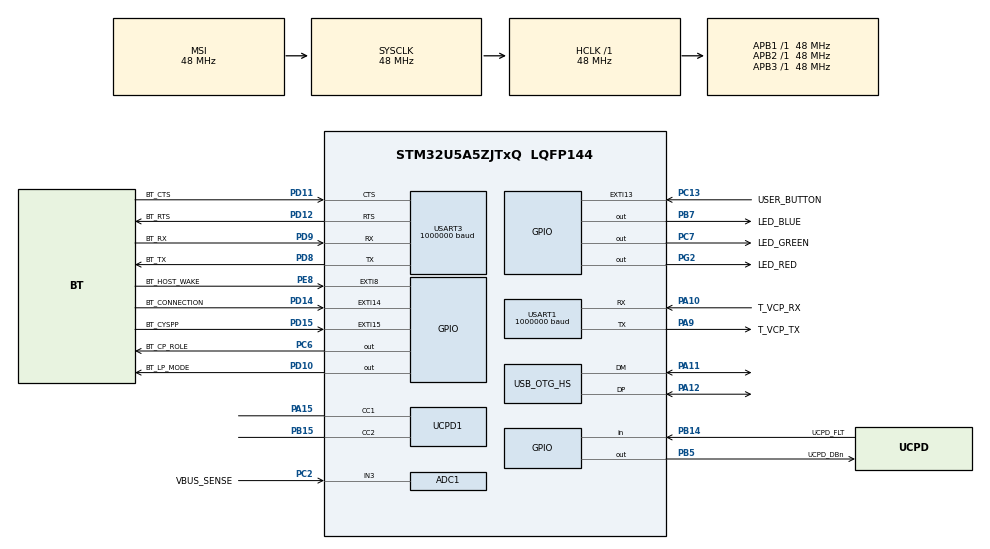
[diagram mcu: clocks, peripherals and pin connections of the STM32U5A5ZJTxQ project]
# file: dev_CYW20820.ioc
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ADC1.Channel-0\#ChannelRegularConversion=ADC_CHANNEL_3
ADC1.NbrOfConversionFlag=1
ADC1.OffsetNumber-0\#ChannelRegularConversion=ADC_OFFSET_NONE
ADC1.Rank-0\#ChannelRegularConversion=1
ADC1.SamplingTime-0\#ChannelRegularConversion=ADC_SAMPLETIME_5CYCLE
ADC1.master=1
CORTEX_M33_NS.userName=CORTEX_M33
CRC.CRCLength=CRC_POLYLENGTH_32B
CRC.DefaultInitValueUse=DEFAULT_INIT_VALUE_DISABLE
CRC.DefaultPolynomialUse=DEFAULT_POLYNOMIAL_DISABLE
CRC.GeneratingPolynomial=X16+X12+X5+X0
CRC.InitValue=0xB0CA
GPDMA1.DESTINC_GPDMACH0=DMA_DINC_INCREMENTED
GPDMA1.DIRECTION_GPDMACH1=DMA_MEMORY_TO_PERIPH
GPDMA1.IPHANDLE_GPDMACH0-SIMPLEREQUEST_GPDMACH0=__NULL
GPDMA1.IPHANDLE_GPDMACH1-SIMPLEREQUEST_GPDMACH1=__NULL
GPDMA1.PRIORITY_GPDMACH1=DMA_LOW_PRIORITY_LOW_WEIGHT
GPDMA1.REQUEST_GPDMACH0=GPDMA1_REQUEST_USART3_RX
GPDMA1.REQUEST_GPDMACH1=GPDMA1_REQUEST_USART3_TX
GPDMA1.SRCINC_GPDMACH1=DMA_SINC_INCREMENTED
Mcu.Family=STM32U5
Mcu.Name=STM32U5A5ZJTxQ
Mcu.Package=LQFP144
NVIC.EXTI13_IRQn=true\:0\:0\:false\:false\:true\:true\:true\:true
NVIC.EXTI14_IRQn=true\:0\:0\:false\:false\:true\:true\:true\:true
NVIC.GPDMA1_Channel0_IRQn=true\:0\:0\:false\:false\:true\:false\:true\:true
NVIC.GPDMA1_Channel1_IRQn=true\:0\:0\:false\:false\:true\:false\:true\:true
NVIC.PriorityGroup=NVIC_PRIORITYGROUP_4
NVIC.USART3_IRQn=true\:0\:0\:false\:false\:true\:true\:true\:true
PA10.GPIO_Label=T_VCP_RX
PA10.Mode=Asynchronous
PA10.Signal=USART1_RX
PA11.Mode=Internal_Phy_Host
PA11.Signal=USB_OTG_HS_DM
PA12.Mode=Internal_Phy_Host
PA12.Signal=USB_OTG_HS_DP
PA13\ (JTMS/SWDIO).Mode=Trace_Asynchronous_SW
PA13\ (JTMS/SWDIO).Signal=DEBUG_JTMS-SWDIO
PA14\ (JTCK/SWCLK).Mode=Trace_Asynchronous_SW
PA14\ (JTCK/SWCLK).Signal=DEBUG_JTCK-SWCLK
PA15\ (JTDI).Mode=Sink_AllSignals
PA15\ (JTDI).Signal=UCPD1_CC1
PA9.GPIO_Label=T_VCP_TX
PA9.Mode=Asynchronous
PA9.Signal=USART1_TX
PB14.GPIO_Label=UCPD_FLT
PB14.Signal=GPIO_Input
PB15.Mode=Sink_AllSignals
PB15.Signal=UCPD1_CC2
PB3\ (JTDO/TRACESWO).Mode=Trace_Asynchronous_SW
PB3\ (JTDO/TRACESWO).Signal=DEBUG_JTDO-SWO
PB5.GPIO_Label=UCPD_DBn
PB5.Signal=GPIO_Output
PB7.GPIO_Label=LED_BLUE
PB7.Signal=GPIO_Output
PC13.GPIO_Label=USER_BUTTON
PC13.Signal=GPXTI13
PC14-OSC32_IN\ (PC14).Mode=LSE-External-Oscillator
PC14-OSC32_IN\ (PC14).Signal=RCC_OSC32_IN
PC15-OSC32_OUT\ (PC15).Mode=LSE-External-Oscillator
PC15-OSC32_OUT\ (PC15).Signal=RCC_OSC32_OUT
PC2.GPIO_Label=VBUS_SENSE
PC2.Mode=IN3-Single-Ended
PC2.Signal=ADC1_IN3
PC6.GPIO_Label=BT_CP_ROLE
PC6.PinState=GPIO_PIN_SET
PC6.Signal=GPIO_Output
PC7.GPIO_Label=LED_GREEN
PC7.Signal=GPIO_Output
PD10.GPIO_Label=BT_LP_MODE
PD10.PinState=GPIO_PIN_SET
PD10.Signal=GPIO_Output
PD11.GPIO_Label=BT_CTS
PD11.Mode=CTS_RTS
PD11.Signal=USART3_CTS
PD12.GPIO_Label=BT_RTS
PD12.Mode=CTS_RTS
PD12.Signal=USART3_RTS
PD14.GPIO_Label=BT_CONNECTION
PD14.GPIO_ModeDefaultEXTI=GPIO_MODE_IT_RISING_FALLING
PD14.Signal=GPXTI14
PD15.GPIO_Label=BT_CYSPP
PD15.GPIO_ModeDefaultEXTI=GPIO_MODE_IT_RISING_FALLING
PD15.Signal=GPXTI15
PD8.GPIO_Label=BT_TX
PD8.Mode=Asynchronous
PD8.Signal=USART3_TX
PD9.GPIO_Label=BT_RX
PD9.Mode=Asynchronous
PD9.Signal=USART3_RX
PE8.GPIO_Label=BT_HOST_WAKE
PE8.Signal=GPXTI8
PG2.GPIO_Label=LED_RED
PG2.Signal=GPIO_Output
PH0-OSC_IN\ (PH0).Mode=HSE-External-Oscillator
PH0-OSC_IN\ (PH0).Signal=RCC_OSC_IN
PH1-OSC_OUT\ (PH1).Mode=HSE-External-Oscillator
PH1-OSC_OUT\ (PH1).Signal=RCC_OSC_OUT
PWR.PowerMode=PWR_SMPS_SUPPLY
ProjectManager.HeapSize=0x200
ProjectManager.StackSize=0x400
ProjectManager.TargetToolchain=STM32CubeIDE
RCC.ADCFreq_Value=16000000
RCC.AHBFreq_Value=48000000
RCC.APB1Freq_Value=48000000
RCC.APB1TimFreq_Value=48000000
RCC.APB2Freq_Value=48000000
RCC.APB2TimFreq_Value=48000000
RCC.APB3Freq_Value=48000000
RCC.CortexFreq_Value=48000000
RCC.DACCLockSelectionVirtual=RCC_DAC1CLKSOURCE_LSI
RCC.EPOD_VALUE=48000000
RCC.HCLKFreq_Value=48000000
RCC.HSE_VALUE=16000000
RCC.HSI48_VALUE=48000000
RCC.HSI_VALUE=16000000
RCC.LSIDIV_VALUE=32000
RCC.MSIClockRange=RCC_MSIRANGE_0
RCC.MSI_VALUE=48000000
RCC.PLL1P=8
RCC.PLLFRACN=0
RCC.PLLM=3
RCC.PLLN=8
RCC.SYSCLKFreq_VALUE=48000000
RCC.VCOOutputFreq_Value=128000000
USART1.BaudRate=1000000
USART1.VirtualMode-Asynchronous=VM_ASYNC
USART3.BaudRate=1000000
USART3.FIFOMode=FIFOMODE_ENABLE
USART3.VirtualMode-Asynchronous=VM_ASYNC
USB_OTG_HS.VirtualMode=Host_HS
VP_CRC_VS_CRC.Mode=CRC_Activate
VP_FLASH_SIG_Activate_FlashIP.Mode=Activate_FlashIP
VP_GPDMA1_VS_GPDMACH0.Mode=SIMPLEREQUEST_GPDMACH0
VP_GPDMA1_VS_GPDMACH1.Mode=SIMPLEREQUEST_GPDMACH1
VP_ICACHE_VS_ICACHE.Mode=DirectMappedCache
VP_LPBAMQUEUE_VS_QUEUE.Mode=QUEUEMODE
VP_MEMORYMAP_VS_MEMORYMAP.Mode=CurAppReg
VP_PWR_VS_DBSignals.Mode=DisableDeadBatterySignals
VP_PWR_VS_LPOM.Mode=PowerOptimisation
VP_PWR_VS_SECSignals.Mode=Security/Privilege
VP_PWR_Vdda.Mode=isolationVdda
board=NUCLEO-U5A5ZJ-Q

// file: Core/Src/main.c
/* USER CODE BEGIN Header */
/**
  ******************************************************************************
  * @file           : main.c
  * @brief          : Main program body
  ******************************************************************************
  * @attention
  *
  * Copyright (c) 2023 STMicroelectronics.
  * All rights reserved.
  *
  * This software is licensed under terms that can be found in the LICENSE file
  * in the root directory of this software component.
  * If no LICENSE file comes with this software, it is provided AS-IS.
  *
  ******************************************************************************
  */
/* USER CODE END Header */
#include "main.h"

/* USER CODE BEGIN Includes */
#include "Shimmer_Driver/CYW20820.h"
#include "S4_App/s4.h"
#include "S4_App/s4_taskList.h"
/* USER CODE END Includes */

/* USER CODE BEGIN PD */
/* wait up to 1.5 seconds for a response before assuming communication failed */
/* (EZ-Serial's own command parser timeout is 1 second, so this is conservative) */
#define COMMAND_TIMEOUT_MS (1500)

#ifdef __GNUC__
/* With GCC/RAISONANCE, small printf (option LD Linker->Libraries->Small printf
   set to 'Yes') calls __io_putchar() */
#define PUTCHAR_PROTOTYPE int __io_putchar(int ch)
#else
#define PUTCHAR_PROTOTYPE int fputc(int ch, FILE *f)
#endif /* __GNUC__ */

/* USER CODE END PD */

ADC_HandleTypeDef hadc1;

CRC_HandleTypeDef hcrc;

UART_HandleTypeDef huart1;
UART_HandleTypeDef huart3;
DMA_HandleTypeDef handle_GPDMA1_Channel1;
DMA_HandleTypeDef handle_GPDMA1_Channel0;

HCD_HandleTypeDef hhcd_USB_OTG_HS;

/* USER CODE BEGIN PV */
static GPIO_InitTypeDef  GPIO_InitStruct;

STATTypeDef stat;

/* USER CODE END PV */

void SystemClock_Config(void);
static void SystemPower_Config(void);
static void MX_GPIO_Init(void);
static void MX_GPDMA1_Init(void);
static void MX_ICACHE_Init(void);
static void MX_UCPD1_Init(void);
static void MX_USART1_UART_Init(void);
static void MX_ADC1_Init(void);
static void MX_USB_OTG_HS_HCD_Init(void);
static void MX_CRC_Init(void);
static void MX_FLASH_Init(void);
static void MX_USART3_UART_Init(void);
/* USER CODE BEGIN PFP */

void btInitialise(void);
void btFactoryResetViaFw(void);
void btCommWithDiffBaudRates(bool isInit, uint8_t reset_cnt);
void usartBtUpdate(uint32_t baudRate, uint32_t hwFlowCtrl);
void setBtConnectionState(bool state);
bool isBtConnected(void);
uint8_t setTaskNewBtCmdToProcess(void);

/* USER CODE END PFP */

/* USER CODE BEGIN 0 */

/**
  * @brief  Retargets the C library printf function to the USART.
  * @param  None
  * @retval None
  */
PUTCHAR_PROTOTYPE
{
  /* Place your implementation of fputc here */
  /* e.g. write a character to the USART1 and Loop until the end of transmission */
  HAL_UART_Transmit(&huart1, (uint8_t *)&ch, 1, 0xFFFF);

  return ch;
}

/* USER CODE END 0 */

int main(void)
{

  /* MCU Configuration--------------------------------------------------------*/

  /* Reset of all peripherals, Initializes the Flash interface and the Systick. */
  HAL_Init();

  /* Configure the system clock */
  SystemClock_Config();

  /* Configure the System Power */
  SystemPower_Config();

  /* Initialize all configured peripherals */
  MX_GPIO_Init();
  MX_GPDMA1_Init();
  MX_ICACHE_Init();
  MX_UCPD1_Init();
  MX_USART1_UART_Init();
  MX_ADC1_Init();
  MX_USB_OTG_HS_HCD_Init();
  MX_CRC_Init();
  MX_FLASH_Init();
  MX_USART3_UART_Init();
  /* USER CODE BEGIN 2 */

  /* -1- Enable GPIO Clock (to be able to program the configuration registers) */
//  LED1_GPIO_CLK_ENABLE();
//  __HAL_RCC_GPIOC_CLK_ENABLE();
//  LED2_GPIO_CLK_ENABLE();
//  __HAL_RCC_GPIOB_CLK_ENABLE();

  /* -2- Configure IO in output push-pull mode to drive external LEDs */
  GPIO_InitStruct.Mode = GPIO_MODE_OUTPUT_PP;
  GPIO_InitStruct.Pull = GPIO_NOPULL;
  GPIO_InitStruct.Speed = GPIO_SPEED_FREQ_HIGH;

  GPIO_InitStruct.Pin = LED_RED_Pin;
  HAL_GPIO_Init(LED_RED_GPIO_Port, &GPIO_InitStruct);
  GPIO_InitStruct.Pin = LED_BLUE_Pin;
  HAL_GPIO_Init(LED_BLUE_GPIO_Port, &GPIO_InitStruct);
  GPIO_InitStruct.Pin = LED_GREEN_Pin;
  HAL_GPIO_Init(LED_GREEN_GPIO_Port, &GPIO_InitStruct);

  /* --------------------------------------------------------------------- */

  btCommsProtocolInit(setTaskNewBtCmdToProcess);
//  btFactoryResetViaFw();
  btInitialise();

  /* USER CODE END 2 */

  /* Infinite loop */
  while (1)
  {

    /* USER CODE BEGIN 3 */
//    HAL_GPIO_TogglePin(LED_GREEN_GPIO_Port, LED_GREEN_Pin);
//    /* Insert delay 300 ms */
//    HAL_Delay(300);
//
//    if (isBtIsInitialised() && isBtConnected())
//    {
//      uint8_t c = 'H';
//      if(handle_GPDMA1_Channel1.State==HAL_DMA_STATE_READY)
//      {
//        HAL_UART_Transmit_DMA(&huart2, &c, 1);
//      }
//    }

    S4_Task_manage();

  }
  /* USER CODE END 3 */
}

void SystemClock_Config(void)
{
  RCC_OscInitTypeDef RCC_OscInitStruct = {0};
  RCC_ClkInitTypeDef RCC_ClkInitStruct = {0};

  /** Configure the main internal regulator output voltage
  */
  if (HAL_PWREx_ControlVoltageScaling(PWR_REGULATOR_VOLTAGE_SCALE3) != HAL_OK)
  {
    Error_Handler();
  }

  /** Initializes the CPU, AHB and APB buses clocks
  */
  RCC_OscInitStruct.OscillatorType = RCC_OSCILLATORTYPE_HSI|RCC_OSCILLATORTYPE_MSI;
  RCC_OscInitStruct.HSIState = RCC_HSI_ON;
  RCC_OscInitStruct.HSICalibrationValue = RCC_HSICALIBRATION_DEFAULT;
  RCC_OscInitStruct.MSIState = RCC_MSI_ON;
  RCC_OscInitStruct.MSICalibrationValue = RCC_MSICALIBRATION_DEFAULT;
  RCC_OscInitStruct.MSIClockRange = RCC_MSIRANGE_0;
  RCC_OscInitStruct.PLL.PLLState = RCC_PLL_ON;
  RCC_OscInitStruct.PLL.PLLSource = RCC_PLLSOURCE_MSI;
  RCC_OscInitStruct.PLL.PLLMBOOST = RCC_PLLMBOOST_DIV4;
  RCC_OscInitStruct.PLL.PLLM = 3;
  RCC_OscInitStruct.PLL.PLLN = 8;
  RCC_OscInitStruct.PLL.PLLP = 8;
  RCC_OscInitStruct.PLL.PLLQ = 2;
  RCC_OscInitStruct.PLL.PLLR = 2;
  RCC_OscInitStruct.PLL.PLLRGE = RCC_PLLVCIRANGE_1;
  RCC_OscInitStruct.PLL.PLLFRACN = 0;
  if (HAL_RCC_OscConfig(&RCC_OscInitStruct) != HAL_OK)
  {
    Error_Handler();
  }

  /** Initializes the CPU, AHB and APB buses clocks
  */
  RCC_ClkInitStruct.ClockType = RCC_CLOCKTYPE_HCLK|RCC_CLOCKTYPE_SYSCLK
                              |RCC_CLOCKTYPE_PCLK1|RCC_CLOCKTYPE_PCLK2
                              |RCC_CLOCKTYPE_PCLK3;
  RCC_ClkInitStruct.SYSCLKSource = RCC_SYSCLKSOURCE_MSI;
  RCC_ClkInitStruct.AHBCLKDivider = RCC_SYSCLK_DIV1;
  RCC_ClkInitStruct.APB1CLKDivider = RCC_HCLK_DIV1;
  RCC_ClkInitStruct.APB2CLKDivider = RCC_HCLK_DIV1;
  RCC_ClkInitStruct.APB3CLKDivider = RCC_HCLK_DIV1;

  if (HAL_RCC_ClockConfig(&RCC_ClkInitStruct, FLASH_LATENCY_1) != HAL_OK)
  {
    Error_Handler();
  }
}

/**
  * @brief Power Configuration
  * @retval None
  */
static void SystemPower_Config(void)
{
  HAL_PWREx_EnableVddIO2();

  /*
   * Switch to SMPS regulator instead of LDO
   */
  if (HAL_PWREx_ConfigSupply(PWR_SMPS_SUPPLY) != HAL_OK)
  {
    Error_Handler();
  }
}

static void MX_ADC1_Init(void)
{

  ADC_ChannelConfTypeDef sConfig = {0};

  /** Common config
  */
  hadc1.Instance = ADC1;
  hadc1.Init.ClockPrescaler = ADC_CLOCK_ASYNC_DIV1;
  hadc1.Init.Resolution = ADC_RESOLUTION_14B;
  hadc1.Init.GainCompensation = 0;
  hadc1.Init.DataAlign = ADC_DATAALIGN_RIGHT;
  hadc1.Init.ScanConvMode = ADC_SCAN_DISABLE;
  hadc1.Init.EOCSelection = ADC_EOC_SINGLE_CONV;
  hadc1.Init.LowPowerAutoWait = DISABLE;
  hadc1.Init.ContinuousConvMode = DISABLE;
  hadc1.Init.NbrOfConversion = 1;
  hadc1.Init.DiscontinuousConvMode = DISABLE;
  hadc1.Init.ExternalTrigConv = ADC_SOFTWARE_START;
  hadc1.Init.ExternalTrigConvEdge = ADC_EXTERNALTRIGCONVEDGE_NONE;
  hadc1.Init.DMAContinuousRequests = DISABLE;
  hadc1.Init.TriggerFrequencyMode = ADC_TRIGGER_FREQ_HIGH;
  hadc1.Init.Overrun = ADC_OVR_DATA_PRESERVED;
  hadc1.Init.LeftBitShift = ADC_LEFTBITSHIFT_NONE;
  hadc1.Init.ConversionDataManagement = ADC_CONVERSIONDATA_DR;
  hadc1.Init.OversamplingMode = DISABLE;
  if (HAL_ADC_Init(&hadc1) != HAL_OK)
  {
    Error_Handler();
  }

  /** Configure Regular Channel
  */
  sConfig.Channel = ADC_CHANNEL_3;
  sConfig.Rank = ADC_REGULAR_RANK_1;
  sConfig.SamplingTime = ADC_SAMPLETIME_5CYCLE;
  sConfig.SingleDiff = ADC_SINGLE_ENDED;
  sConfig.OffsetNumber = ADC_OFFSET_NONE;
  sConfig.Offset = 0;
  if (HAL_ADC_ConfigChannel(&hadc1, &sConfig) != HAL_OK)
  {
    Error_Handler();
  }

}

static void MX_CRC_Init(void)
{

  hcrc.Instance = CRC;
  hcrc.Init.DefaultPolynomialUse = DEFAULT_POLYNOMIAL_DISABLE;
  hcrc.Init.DefaultInitValueUse = DEFAULT_INIT_VALUE_DISABLE;
  hcrc.Init.GeneratingPolynomial = 69665;
  hcrc.Init.CRCLength = CRC_POLYLENGTH_32B;
  hcrc.Init.InitValue = 0xB0CA;
  hcrc.Init.InputDataInversionMode = CRC_INPUTDATA_INVERSION_NONE;
  hcrc.Init.OutputDataInversionMode = CRC_OUTPUTDATA_INVERSION_DISABLE;
  hcrc.InputDataFormat = CRC_INPUTDATA_FORMAT_BYTES;
  if (HAL_CRC_Init(&hcrc) != HAL_OK)
  {
    Error_Handler();
  }

}

static void MX_FLASH_Init(void)
{

  if (HAL_FLASH_Unlock() != HAL_OK)
  {
    Error_Handler();
  }
  if (HAL_FLASH_Lock() != HAL_OK)
  {
    Error_Handler();
  }

}

static void MX_GPDMA1_Init(void)
{

  /* Peripheral clock enable */
  __HAL_RCC_GPDMA1_CLK_ENABLE();

  /* GPDMA1 interrupt Init */
    HAL_NVIC_SetPriority(GPDMA1_Channel0_IRQn, 0, 0);
    HAL_NVIC_EnableIRQ(GPDMA1_Channel0_IRQn);
    HAL_NVIC_SetPriority(GPDMA1_Channel1_IRQn, 0, 0);
    HAL_NVIC_EnableIRQ(GPDMA1_Channel1_IRQn);

}

static void MX_ICACHE_Init(void)
{

  /** Enable instruction cache in 1-way (direct mapped cache)
  */
  if (HAL_ICACHE_ConfigAssociativityMode(ICACHE_1WAY) != HAL_OK)
  {
    Error_Handler();
  }
  if (HAL_ICACHE_Enable() != HAL_OK)
  {
    Error_Handler();
  }

}

static void MX_UCPD1_Init(void)
{

  LL_GPIO_InitTypeDef GPIO_InitStruct = {0};

  /* Peripheral clock enable */
  LL_APB1_GRP2_EnableClock(LL_APB1_GRP2_PERIPH_UCPD1);

  LL_AHB2_GRP1_EnableClock(LL_AHB2_GRP1_PERIPH_GPIOB);
  LL_AHB2_GRP1_EnableClock(LL_AHB2_GRP1_PERIPH_GPIOA);
  /**UCPD1 GPIO Configuration
  PB15   ------> UCPD1_CC2
  PA15 (JTDI)   ------> UCPD1_CC1
  */
  GPIO_InitStruct.Pin = LL_GPIO_PIN_15;
  GPIO_InitStruct.Mode = LL_GPIO_MODE_ANALOG;
  GPIO_InitStruct.Pull = LL_GPIO_PULL_NO;
  LL_GPIO_Init(GPIOB, &GPIO_InitStruct);

  GPIO_InitStruct.Pin = LL_GPIO_PIN_15;
  GPIO_InitStruct.Mode = LL_GPIO_MODE_ANALOG;
  GPIO_InitStruct.Pull = LL_GPIO_PULL_NO;
  LL_GPIO_Init(GPIOA, &GPIO_InitStruct);

}

static void MX_USART1_UART_Init(void)
{

  huart1.Instance = USART1;
  huart1.Init.BaudRate = 1000000;
  huart1.Init.WordLength = UART_WORDLENGTH_8B;
  huart1.Init.StopBits = UART_STOPBITS_1;
  huart1.Init.Parity = UART_PARITY_NONE;
  huart1.Init.Mode = UART_MODE_TX_RX;
  huart1.Init.HwFlowCtl = UART_HWCONTROL_NONE;
  huart1.Init.OverSampling = UART_OVERSAMPLING_16;
  huart1.Init.OneBitSampling = UART_ONE_BIT_SAMPLE_DISABLE;
  huart1.Init.ClockPrescaler = UART_PRESCALER_DIV1;
  huart1.AdvancedInit.AdvFeatureInit = UART_ADVFEATURE_NO_INIT;
  if (HAL_UART_Init(&huart1) != HAL_OK)
  {
    Error_Handler();
  }
  if (HAL_UARTEx_SetTxFifoThreshold(&huart1, UART_TXFIFO_THRESHOLD_1_8) != HAL_OK)
  {
    Error_Handler();
  }
  if (HAL_UARTEx_SetRxFifoThreshold(&huart1, UART_RXFIFO_THRESHOLD_1_8) != HAL_OK)
  {
    Error_Handler();
  }
  if (HAL_UARTEx_DisableFifoMode(&huart1) != HAL_OK)
  {
    Error_Handler();
  }

}

static void MX_USART3_UART_Init(void)
{

  huart3.Instance = USART3;
  huart3.Init.BaudRate = 1000000;
  huart3.Init.WordLength = UART_WORDLENGTH_8B;
  huart3.Init.StopBits = UART_STOPBITS_1;
  huart3.Init.Parity = UART_PARITY_NONE;
  huart3.Init.Mode = UART_MODE_TX_RX;
  huart3.Init.HwFlowCtl = UART_HWCONTROL_RTS_CTS;
  huart3.Init.OverSampling = UART_OVERSAMPLING_16;
  huart3.Init.OneBitSampling = UART_ONE_BIT_SAMPLE_DISABLE;
  huart3.Init.ClockPrescaler = UART_PRESCALER_DIV1;
  huart3.AdvancedInit.AdvFeatureInit = UART_ADVFEATURE_NO_INIT;
  if (HAL_UART_Init(&huart3) != HAL_OK)
  {
    Error_Handler();
  }
  if (HAL_UARTEx_SetTxFifoThreshold(&huart3, UART_TXFIFO_THRESHOLD_1_8) != HAL_OK)
  {
    Error_Handler();
  }
  if (HAL_UARTEx_SetRxFifoThreshold(&huart3, UART_RXFIFO_THRESHOLD_1_8) != HAL_OK)
  {
    Error_Handler();
  }
  if (HAL_UARTEx_EnableFifoMode(&huart3) != HAL_OK)
  {
    Error_Handler();
  }

}

static void MX_USB_OTG_HS_HCD_Init(void)
{

  hhcd_USB_OTG_HS.Instance = USB_OTG_HS;
  hhcd_USB_OTG_HS.Init.Host_channels = 16;
  hhcd_USB_OTG_HS.Init.speed = HCD_SPEED_HIGH;
  hhcd_USB_OTG_HS.Init.dma_enable = DISABLE;
  hhcd_USB_OTG_HS.Init.phy_itface = USB_OTG_HS_EMBEDDED_PHY;
  hhcd_USB_OTG_HS.Init.Sof_enable = DISABLE;
  hhcd_USB_OTG_HS.Init.low_power_enable = DISABLE;
  hhcd_USB_OTG_HS.Init.use_external_vbus = ENABLE;
  if (HAL_HCD_Init(&hhcd_USB_OTG_HS) != HAL_OK)
  {
    Error_Handler();
  }

}

static void MX_GPIO_Init(void)
{
  GPIO_InitTypeDef GPIO_InitStruct = {0};

  /* GPIO Ports Clock Enable */
  __HAL_RCC_GPIOC_CLK_ENABLE();
  __HAL_RCC_GPIOH_CLK_ENABLE();
  __HAL_RCC_GPIOE_CLK_ENABLE();
  __HAL_RCC_GPIOB_CLK_ENABLE();
  __HAL_RCC_GPIOD_CLK_ENABLE();
  __HAL_RCC_GPIOG_CLK_ENABLE();
  __HAL_RCC_GPIOA_CLK_ENABLE();

  /*Configure GPIO pin Output Level */
  HAL_GPIO_WritePin(BT_LP_MODE_GPIO_Port, BT_LP_MODE_Pin, GPIO_PIN_SET);

  /*Configure GPIO pin Output Level */
  HAL_GPIO_WritePin(LED_RED_GPIO_Port, LED_RED_Pin, GPIO_PIN_RESET);

  /*Configure GPIO pin Output Level */
  HAL_GPIO_WritePin(BT_CP_ROLE_GPIO_Port, BT_CP_ROLE_Pin, GPIO_PIN_SET);

  /*Configure GPIO pin Output Level */
  HAL_GPIO_WritePin(LED_GREEN_GPIO_Port, LED_GREEN_Pin, GPIO_PIN_RESET);

  /*Configure GPIO pin Output Level */
  HAL_GPIO_WritePin(GPIOB, UCPD_DBn_Pin|LED_BLUE_Pin, GPIO_PIN_RESET);

  /*Configure GPIO pin : USER_BUTTON_Pin */
  GPIO_InitStruct.Pin = USER_BUTTON_Pin;
  GPIO_InitStruct.Mode = GPIO_MODE_IT_RISING;
  GPIO_InitStruct.Pull = GPIO_NOPULL;
  HAL_GPIO_Init(USER_BUTTON_GPIO_Port, &GPIO_InitStruct);

  /*Configure GPIO pin : BT_HOST_WAKE_Pin */
  GPIO_InitStruct.Pin = BT_HOST_WAKE_Pin;
  GPIO_InitStruct.Mode = GPIO_MODE_IT_RISING;
  GPIO_InitStruct.Pull = GPIO_NOPULL;
  HAL_GPIO_Init(BT_HOST_WAKE_GPIO_Port, &GPIO_InitStruct);

  /*Configure GPIO pin : UCPD_FLT_Pin */
  GPIO_InitStruct.Pin = UCPD_FLT_Pin;
  GPIO_InitStruct.Mode = GPIO_MODE_INPUT;
  GPIO_InitStruct.Pull = GPIO_NOPULL;
  HAL_GPIO_Init(UCPD_FLT_GPIO_Port, &GPIO_InitStruct);

  /*Configure GPIO pin : BT_LP_MODE_Pin */
  GPIO_InitStruct.Pin = BT_LP_MODE_Pin;
  GPIO_InitStruct.Mode = GPIO_MODE_OUTPUT_PP;
  GPIO_InitStruct.Pull = GPIO_NOPULL;
  GPIO_InitStruct.Speed = GPIO_SPEED_FREQ_LOW;
  HAL_GPIO_Init(BT_LP_MODE_GPIO_Port, &GPIO_InitStruct);

  /*Configure GPIO pins : BT_CONNECTION_Pin BT_CYSPP_Pin */
  GPIO_InitStruct.Pin = BT_CONNECTION_Pin|BT_CYSPP_Pin;
  GPIO_InitStruct.Mode = GPIO_MODE_IT_RISING_FALLING;
  GPIO_InitStruct.Pull = GPIO_NOPULL;
  HAL_GPIO_Init(GPIOD, &GPIO_InitStruct);

  /*Configure GPIO pin : LED_RED_Pin */
  GPIO_InitStruct.Pin = LED_RED_Pin;
  GPIO_InitStruct.Mode = GPIO_MODE_OUTPUT_PP;
  GPIO_InitStruct.Pull = GPIO_NOPULL;
  GPIO_InitStruct.Speed = GPIO_SPEED_FREQ_LOW;
  HAL_GPIO_Init(LED_RED_GPIO_Port, &GPIO_InitStruct);

  /*Configure GPIO pins : BT_CP_ROLE_Pin LED_GREEN_Pin */
  GPIO_InitStruct.Pin = BT_CP_ROLE_Pin|LED_GREEN_Pin;
  GPIO_InitStruct.Mode = GPIO_MODE_OUTPUT_PP;
  GPIO_InitStruct.Pull = GPIO_NOPULL;
  GPIO_InitStruct.Speed = GPIO_SPEED_FREQ_LOW;
  HAL_GPIO_Init(GPIOC, &GPIO_InitStruct);

  /*Configure GPIO pins : UCPD_DBn_Pin LED_BLUE_Pin */
  GPIO_InitStruct.Pin = UCPD_DBn_Pin|LED_BLUE_Pin;
  GPIO_InitStruct.Mode = GPIO_MODE_OUTPUT_PP;
  GPIO_InitStruct.Pull = GPIO_NOPULL;
  GPIO_InitStruct.Speed = GPIO_SPEED_FREQ_LOW;
  HAL_GPIO_Init(GPIOB, &GPIO_InitStruct);

  /* EXTI interrupt init*/
  HAL_NVIC_SetPriority(EXTI13_IRQn, 0, 0);
  HAL_NVIC_EnableIRQ(EXTI13_IRQn);

  HAL_NVIC_SetPriority(EXTI14_IRQn, 0, 0);
  HAL_NVIC_EnableIRQ(EXTI14_IRQn);

}

/* USER CODE BEGIN 4 */

void btInitialise(void)
{
  printf("\r\nBT init start\r\n");

  // 20 * 100ms = 2s per baud rate attempt
  btCommWithDiffBaudRates(true, 20U);

  printf("BT init end\r\n");
}

void btFactoryResetViaFw(void)
{
  printf("\r\nBT factory reset start\r\n");

  // 50 * 100ms = 5s per baud rate attempt
  btCommWithDiffBaudRates(false, 50U);

  // Abort transfer operations to release UART for subsequent requests.
  HAL_StatusTypeDef status = HAL_UART_Abort(&huart3);

  printf("BT factory reset end\r\n");
}

void btCommWithDiffBaudRates(bool isInit, uint8_t reset_cnt)
{
  uint8_t failCount = 0U;
  uint32_t baudToTry = BAUD_TO_USE;

  setBtLpMode(false);

  printf("Attempting %lu Baud\r\n", baudToTry);
  usartBtUpdate(baudToTry, baudToTry==115200? 0:FLOW_CONTROL);

  if (isInit)
  {
    btInit();
  }
  else
  {
    btFactoryResetInit();
  }

  while ((isBtInitCmdsRunning() && !isBtIsInitialised())
      || (isBtFactoryResetCmdsRunning() && !isBtIsFactoryResetted()))
  {
    HAL_GPIO_TogglePin(LED_GREEN_GPIO_Port, LED_GREEN_Pin);
    /* Insert delay 100 ms */
    HAL_Delay(100);

    if (isEzsBaudRateDelayPending())
    {
      /* Delay or arbitrary value. As a guide, the EZ-Serial user guide states that it takes ~150 ms for a "chipset reset and boot process". */
      HAL_Delay(500);
      incrementBtInitCmdsStep();
      btInitCommands();
    }
    else if (isEzsFactoryRebootDelayPending())
    {
      /* Experimentally found to be ~ 2.75s. */
      HAL_Delay(3000);
      incrementBtFactoryResetCmdsStep();
      btFactoryResetCommands();
    }

    if (!(reset_cnt--))
    {
      failCount++;

      if (failCount <= 4)
      {
        if (failCount == 1)
        {
          baudToTry = 115200;
        }
        else if (failCount == 2)
        {
          baudToTry = 460800;
        }
        else if (failCount == 3)
        {
          baudToTry = 2000000;
        }
        else if (failCount == 4)
        {
          baudToTry = 500000;
        }

        printf("Attempting %lu Baud\r\n", baudToTry);
        usartBtUpdate(baudToTry, baudToTry==115200? 0:FLOW_CONTROL);
      }
      else
      {
        printf("Operation failed, performing system reset\r\n");
        // software POR reset
        NVIC_SystemReset();
      }

      if (isInit)
      {
        btInit();
      }
      else
      {
        btFactoryResetInit();
      }

      reset_cnt = 50U;
    }
  }
  setBtLpMode(true);
}

/**
  * @brief USART3 Initialization Function
  * @param None
  * @retval None
  */
void usartBtUpdate(uint32_t baudRate, uint32_t hwFlowCtrl)
{
  HAL_StatusTypeDef status = HAL_UART_Abort(&huart3);
  status = HAL_UART_DeInit(&huart3);

  huart3.Instance = USART3;
  huart3.Init.BaudRate = baudRate;
  huart3.Init.WordLength = UART_WORDLENGTH_8B;
  huart3.Init.StopBits = UART_STOPBITS_1;
  huart3.Init.Parity = UART_PARITY_NONE;
  huart3.Init.Mode = UART_MODE_TX_RX;
  huart3.Init.HwFlowCtl = hwFlowCtrl? UART_HWCONTROL_RTS_CTS:UART_HWCONTROL_NONE;
  huart3.Init.OverSampling = UART_OVERSAMPLING_16;
  huart3.Init.OneBitSampling = UART_ONE_BIT_SAMPLE_DISABLE;
  huart3.Init.ClockPrescaler = UART_PRESCALER_DIV1;
  huart3.AdvancedInit.AdvFeatureInit = UART_ADVFEATURE_NO_INIT;
  if (HAL_UART_Init(&huart3) != HAL_OK)
  {
    Error_Handler();
  }
  if (HAL_UARTEx_SetTxFifoThreshold(&huart3, UART_TXFIFO_THRESHOLD_1_8) != HAL_OK)
  {
    Error_Handler();
  }
  if (HAL_UARTEx_SetRxFifoThreshold(&huart3, UART_RXFIFO_THRESHOLD_1_8) != HAL_OK)
  {
    Error_Handler();
  }
  if (HAL_UARTEx_EnableFifoMode(&huart3) != HAL_OK)
  {
    Error_Handler();
  }

  setBtUartInstance(&huart3);
}

void HAL_GPIO_EXTI_Rising_Callback(uint16_t GPIO_Pin)
{
  switch (GPIO_Pin) {
  case BT_CONNECTION_Pin:
//    setBtConnectionState(false);
    break;
  case BT_CYSPP_Pin:
//    setBtCysppState(false);
    break;
  default:
    break;
  }
}

void HAL_GPIO_EXTI_Falling_Callback(uint16_t GPIO_Pin)
{
  switch (GPIO_Pin) {
  case BT_CONNECTION_Pin:
//    setBtConnectionState(true);
    break;
  case BT_CYSPP_Pin:
//    setBtCysppState(true);
    break;
  default:
    break;
  }
}

void setBtConnectionState(bool state)
{
  stat.isBtConnected = state;
  HAL_GPIO_WritePin(LED_BLUE_GPIO_Port, LED_BLUE_Pin, state? GPIO_PIN_SET:GPIO_PIN_RESET);
}

bool isBtConnected(void)
{
  return stat.isBtConnected;
}

uint8_t setTaskNewBtCmdToProcess(void)
{
  return S4_Task_set(TASK_BTPROCESS);
}

/* USER CODE END 4 */

void Error_Handler(void)
{
  __disable_irq();
  while (1)
  {
  }
}
